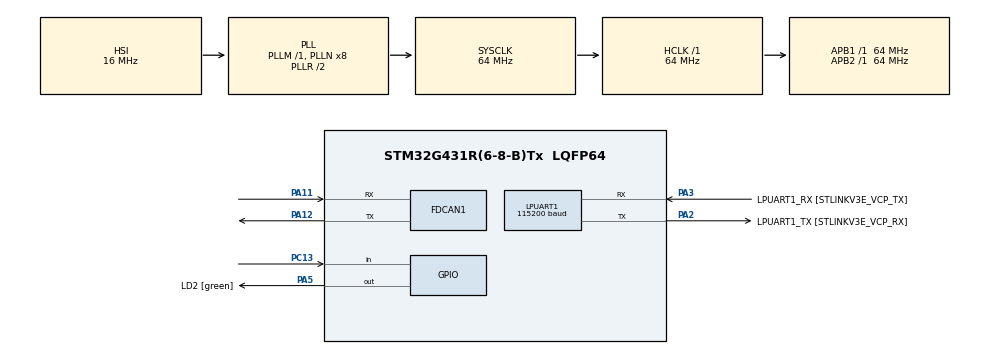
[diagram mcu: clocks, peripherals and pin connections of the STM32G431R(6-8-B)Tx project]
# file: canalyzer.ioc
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FDCAN1.AutoRetransmission=DISABLE
FDCAN1.CalculateBaudRateNominal=1000000
FDCAN1.CalculateTimeBitNominal=1000
FDCAN1.CalculateTimeQuantumNominal=15.625
FDCAN1.DataPrescaler=2
FDCAN1.DataSyncJumpWidth=14
FDCAN1.DataTimeSeg1=17
FDCAN1.DataTimeSeg2=14
FDCAN1.ExtFiltersNbr=0
FDCAN1.FrameFormat=FDCAN_FRAME_FD_NO_BRS
FDCAN1.Mode=FDCAN_MODE_BUS_MONITORING
FDCAN1.NominalPrescaler=1
FDCAN1.NominalSyncJumpWidth=9
FDCAN1.NominalTimeSeg1=54
FDCAN1.NominalTimeSeg2=9
FDCAN1.StdFiltersNbr=1
LPUART1.BaudRate=115200
Mcu.Family=STM32G4
Mcu.Name=STM32G431R(6-8-B)Tx
Mcu.Package=LQFP64
NVIC.FDCAN1_IT0_IRQn=true\:0\:0\:false\:false\:true\:true\:true\:true
NVIC.PriorityGroup=NVIC_PRIORITYGROUP_4
PA11.Mode=FDCAN_Activate
PA11.Signal=FDCAN1_RX
PA12.Mode=FDCAN_Activate
PA12.Signal=FDCAN1_TX
PA13.GPIO_Label=T_SWDIO
PA13.Signal=SYS_JTMS-SWDIO
PA14.GPIO_Label=T_SWCLK
PA14.Signal=SYS_JTCK-SWCLK
PA2.GPIO_Label=LPUART1_TX [STLINKV3E_VCP_RX]
PA2.Mode=Asynchronous
PA2.Signal=LPUART1_TX
PA3.GPIO_Label=LPUART1_RX [STLINKV3E_VCP_TX]
PA3.Mode=Asynchronous
PA3.Signal=LPUART1_RX
PA5.GPIO_Label=LD2 [green]
PA5.Signal=GPIO_Output
PB3.GPIO_Label=T_SWO
PB3.Signal=SYS_JTDO-SWO
PC13.Signal=GPIO_Input
PC14-OSC32_IN.GPIO_Label=RCC_OSC32_OUT
PC14-OSC32_IN.Signal=RCC_OSC32_IN
PC15-OSC32_OUT.GPIO_Label=RCC_OSC32_OUT
PC15-OSC32_OUT.Signal=RCC_OSC32_OUT
PF0-OSC_IN.GPIO_Label=RCC_OSC_IN
PF0-OSC_IN.Signal=RCC_OSC_IN
PF1-OSC_OUT.GPIO_Label=RCC_OSC_OUT
PF1-OSC_OUT.Signal=RCC_OSC_OUT
ProjectManager.HeapSize=0x200
ProjectManager.StackSize=0x400
ProjectManager.TargetToolchain=STM32CubeIDE
RCC.ADC12Freq_Value=64000000
RCC.AHBFreq_Value=64000000
RCC.APB1Freq_Value=64000000
RCC.APB1TimFreq_Value=64000000
RCC.APB2Freq_Value=64000000
RCC.APB2TimFreq_Value=64000000
RCC.CortexFreq_Value=64000000
RCC.EXTERNAL_CLOCK_VALUE=12288000
RCC.FDCANCLockSelection=RCC_FDCANCLKSOURCE_PLL
RCC.HCLKFreq_Value=64000000
RCC.HSE_VALUE=24000000
RCC.HSI48_VALUE=48000000
RCC.HSI_VALUE=16000000
RCC.LSE_VALUE=32768
RCC.RTCClockSelection=RCC_RTCCLKSOURCE_LSE
RCC.SYSCLKFreq_VALUE=64000000
RCC.SYSCLKSource=RCC_SYSCLKSOURCE_PLLCLK
RCC.USBFreq_Value=64000000
RCC.VCOOutputFreq_Value=128000000
TIM16.Prescaler=79
VP_SYS_VS_DBSignals.Mode=DisableDeadBatterySignals
VP_TIM16_VS_ClockSourceINT.Mode=Enable_Timer
board=NUCLEO-G431RB

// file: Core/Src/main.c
/* USER CODE BEGIN Header */
/**
 ******************************************************************************
 * @file           : main.c
 * @brief          : Main program body
 ******************************************************************************
 * @attention
 *
 * Copyright (c) 2024 STMicroelectronics.
 * All rights reserved.
 *
 * This software is licensed under terms that can be found in the LICENSE file
 * in the root directory of this software component.
 * If no LICENSE file comes with this software, it is provided AS-IS.
 *
 ******************************************************************************
 */
/* USER CODE END Header */
#include "main.h"

/* USER CODE BEGIN Includes */
#include <stdio.h>
#include <stdbool.h>

/* USER CODE END Includes */

/* USER CODE BEGIN PD */
// Initialises FDCan with given mode.
// TODO: Adapt to accept timings as input parameters.
void InitFDCan(bool deInit, uint32_t mode);
/* USER CODE END PD */

FDCAN_HandleTypeDef hfdcan1;

UART_HandleTypeDef hlpuart1;

TIM_HandleTypeDef htim16;

/* USER CODE BEGIN PV */
FDCAN_TxHeaderTypeDef TxHeader;
FDCAN_RxHeaderTypeDef RxHeader;
uint8_t tx_data[12];
uint8_t rx_data[12];
int _index = 0;
int role;
#define SENDER 	 1
#define RECEIVER 0
uint32_t default_fdcan_mode = FDCAN_MODE_BUS_MONITORING;
/* USER CODE END PV */

void SystemClock_Config(void);
static void MX_GPIO_Init(void);
static void MX_FDCAN1_Init(void);
static void MX_TIM16_Init(void);
static void MX_LPUART1_UART_Init(void);

int main(void) {

	/* USER CODE BEGIN 1 */
	char uart_buf[50];
	int uart_buf_len;
	//uint16_t timer_val;

	/* USER CODE END 1 */

	/* MCU Configuration--------------------------------------------------------*/

	/* Reset of all peripherals, Initializes the Flash interface and the Systick. */
	HAL_Init();

	/* Configure the system clock */
	SystemClock_Config();

	/* Initialize all configured peripherals */
	MX_GPIO_Init();
	MX_FDCAN1_Init();
	MX_TIM16_Init();
	MX_LPUART1_UART_Init();
	/* USER CODE BEGIN 2 */
//  HAL_UART_Transmit(&hlpuart1, (uint8_t *)uart_buf, uart_buf_len, 100);
	HAL_TIM_Base_Start(&htim16);

	InitFDCan(false, default_fdcan_mode);

	TxHeader.Identifier = 0x11;
	TxHeader.IdType = FDCAN_STANDARD_ID;
	TxHeader.TxFrameType = FDCAN_DATA_FRAME;
	TxHeader.DataLength = FDCAN_DLC_BYTES_12;
	TxHeader.ErrorStateIndicator = FDCAN_ESI_ACTIVE;
	TxHeader.BitRateSwitch = FDCAN_BRS_OFF;
	TxHeader.FDFormat = FDCAN_FD_CAN;
	TxHeader.TxEventFifoControl = FDCAN_NO_TX_EVENTS;
	TxHeader.MessageMarker = 0;

	// SENDER or RECEIVER
	role = RECEIVER;
	bool fdcan_mode = false;
	/* USER CODE END 2 */

	/* Infinite loop */
	/* USER CODE BEGIN WHILE */
	while (1) {
		if (HAL_GPIO_ReadPin(GPIOC, GPIO_PIN_13)) {
			InitFDCan(true, (fdcan_mode) ? FDCAN_MODE_BUS_MONITORING : FDCAN_MODE_NORMAL);
			fdcan_mode = !fdcan_mode;
		}

		if (role == SENDER && HAL_GPIO_ReadPin(GPIOC, GPIO_PIN_13)) {

			for (int i = 0; i < 12; i++) {
				tx_data[i] = _index++;
			}
			if (HAL_FDCAN_AddMessageToTxFifoQ(&hfdcan1, &TxHeader, tx_data)
					!= HAL_OK) {
				Error_Handler();
			}
		}
		HAL_Delay(1000);
	}
	/* USER CODE END WHILE */

}

void SystemClock_Config(void) {
	RCC_OscInitTypeDef RCC_OscInitStruct = { 0 };
	RCC_ClkInitTypeDef RCC_ClkInitStruct = { 0 };

	/** Configure the main internal regulator output voltage
	 */
	HAL_PWREx_ControlVoltageScaling(PWR_REGULATOR_VOLTAGE_SCALE1);

	/** Initializes the RCC Oscillators according to the specified parameters
	 * in the RCC_OscInitTypeDef structure.
	 */
	RCC_OscInitStruct.OscillatorType = RCC_OSCILLATORTYPE_HSI;
	RCC_OscInitStruct.HSIState = RCC_HSI_ON;
	RCC_OscInitStruct.HSICalibrationValue = RCC_HSICALIBRATION_DEFAULT;
	RCC_OscInitStruct.PLL.PLLState = RCC_PLL_ON;
	RCC_OscInitStruct.PLL.PLLSource = RCC_PLLSOURCE_HSI;
	RCC_OscInitStruct.PLL.PLLM = RCC_PLLM_DIV1;
	RCC_OscInitStruct.PLL.PLLN = 8;
	RCC_OscInitStruct.PLL.PLLP = RCC_PLLP_DIV2;
	RCC_OscInitStruct.PLL.PLLQ = RCC_PLLQ_DIV2;
	RCC_OscInitStruct.PLL.PLLR = RCC_PLLR_DIV2;
	if (HAL_RCC_OscConfig(&RCC_OscInitStruct) != HAL_OK) {
		Error_Handler();
	}

	/** Initializes the CPU, AHB and APB buses clocks
	 */
	RCC_ClkInitStruct.ClockType = RCC_CLOCKTYPE_HCLK | RCC_CLOCKTYPE_SYSCLK
			| RCC_CLOCKTYPE_PCLK1 | RCC_CLOCKTYPE_PCLK2;
	RCC_ClkInitStruct.SYSCLKSource = RCC_SYSCLKSOURCE_PLLCLK;
	RCC_ClkInitStruct.AHBCLKDivider = RCC_SYSCLK_DIV1;
	RCC_ClkInitStruct.APB1CLKDivider = RCC_HCLK_DIV1;
	RCC_ClkInitStruct.APB2CLKDivider = RCC_HCLK_DIV1;

	if (HAL_RCC_ClockConfig(&RCC_ClkInitStruct, FLASH_LATENCY_2) != HAL_OK) {
		Error_Handler();
	}
}

static void MX_FDCAN1_Init(void) {

	hfdcan1.Instance = FDCAN1;
	hfdcan1.Init.ClockDivider = FDCAN_CLOCK_DIV1;
	hfdcan1.Init.FrameFormat = FDCAN_FRAME_FD_NO_BRS;
	hfdcan1.Init.Mode = FDCAN_MODE_BUS_MONITORING;
	hfdcan1.Init.AutoRetransmission = DISABLE;
	hfdcan1.Init.TransmitPause = DISABLE;
	hfdcan1.Init.ProtocolException = DISABLE;
	hfdcan1.Init.NominalPrescaler = 1;
	hfdcan1.Init.NominalSyncJumpWidth = 9;
	hfdcan1.Init.NominalTimeSeg1 = 54;
	hfdcan1.Init.NominalTimeSeg2 = 9;
	hfdcan1.Init.DataPrescaler = 2;
	hfdcan1.Init.DataSyncJumpWidth = 14;
	hfdcan1.Init.DataTimeSeg1 = 17;
	hfdcan1.Init.DataTimeSeg2 = 14;
	hfdcan1.Init.StdFiltersNbr = 1;
	hfdcan1.Init.ExtFiltersNbr = 0;
	hfdcan1.Init.TxFifoQueueMode = FDCAN_TX_FIFO_OPERATION;
	if (HAL_FDCAN_Init(&hfdcan1) != HAL_OK) {
		Error_Handler();
	}
	/* USER CODE BEGIN FDCAN1_Init 2 */
	FDCAN_FilterTypeDef sFilterConfig;

	sFilterConfig.IdType = FDCAN_STANDARD_ID;
	sFilterConfig.FilterIndex = 0;
	sFilterConfig.FilterType = FDCAN_FILTER_MASK;
	sFilterConfig.FilterConfig = FDCAN_FILTER_TO_RXFIFO0;
	sFilterConfig.FilterID1 = 0x11;
	sFilterConfig.FilterID2 = 0x11;

	if (HAL_FDCAN_ConfigFilter(&hfdcan1, &sFilterConfig) != HAL_OK) {
		Error_Handler();
	}

	if (HAL_FDCAN_ConfigGlobalFilter(&hfdcan1, FDCAN_REJECT, FDCAN_REJECT,
	FDCAN_FILTER_REMOTE, FDCAN_FILTER_REMOTE) != HAL_OK) {
		Error_Handler();
	}

	/* USER CODE END FDCAN1_Init 2 */

}

static void MX_LPUART1_UART_Init(void) {

	hlpuart1.Instance = LPUART1;
	hlpuart1.Init.BaudRate = 115200;
	hlpuart1.Init.WordLength = UART_WORDLENGTH_8B;
	hlpuart1.Init.StopBits = UART_STOPBITS_1;
	hlpuart1.Init.Parity = UART_PARITY_NONE;
	hlpuart1.Init.Mode = UART_MODE_TX_RX;
	hlpuart1.Init.HwFlowCtl = UART_HWCONTROL_NONE;
	hlpuart1.Init.OneBitSampling = UART_ONE_BIT_SAMPLE_DISABLE;
	hlpuart1.Init.ClockPrescaler = UART_PRESCALER_DIV1;
	hlpuart1.AdvancedInit.AdvFeatureInit = UART_ADVFEATURE_NO_INIT;
	if (HAL_UART_Init(&hlpuart1) != HAL_OK) {
		Error_Handler();
	}
	if (HAL_UARTEx_SetTxFifoThreshold(&hlpuart1, UART_TXFIFO_THRESHOLD_1_8)
			!= HAL_OK) {
		Error_Handler();
	}
	if (HAL_UARTEx_SetRxFifoThreshold(&hlpuart1, UART_RXFIFO_THRESHOLD_1_8)
			!= HAL_OK) {
		Error_Handler();
	}
	if (HAL_UARTEx_DisableFifoMode(&hlpuart1) != HAL_OK) {
		Error_Handler();
	}

}

static void MX_TIM16_Init(void) {

	htim16.Instance = TIM16;
	htim16.Init.Prescaler = 79;
	htim16.Init.CounterMode = TIM_COUNTERMODE_UP;
	htim16.Init.Period = 65535;
	htim16.Init.ClockDivision = TIM_CLOCKDIVISION_DIV1;
	htim16.Init.RepetitionCounter = 0;
	htim16.Init.AutoReloadPreload = TIM_AUTORELOAD_PRELOAD_DISABLE;
	if (HAL_TIM_Base_Init(&htim16) != HAL_OK) {
		Error_Handler();
	}

}

static void MX_GPIO_Init(void) {
	GPIO_InitTypeDef GPIO_InitStruct = { 0 };

	/* GPIO Ports Clock Enable */
	__HAL_RCC_GPIOC_CLK_ENABLE();
	__HAL_RCC_GPIOF_CLK_ENABLE();
	__HAL_RCC_GPIOA_CLK_ENABLE();
	__HAL_RCC_GPIOB_CLK_ENABLE();

	/*Configure GPIO pin Output Level */
	HAL_GPIO_WritePin(LD2_GPIO_Port, LD2_Pin, GPIO_PIN_RESET);

	/*Configure GPIO pin : PC13 */
	GPIO_InitStruct.Pin = GPIO_PIN_13;
	GPIO_InitStruct.Mode = GPIO_MODE_INPUT;
	GPIO_InitStruct.Pull = GPIO_NOPULL;
	HAL_GPIO_Init(GPIOC, &GPIO_InitStruct);

	/*Configure GPIO pin : LD2_Pin */
	GPIO_InitStruct.Pin = LD2_Pin;
	GPIO_InitStruct.Mode = GPIO_MODE_OUTPUT_PP;
	GPIO_InitStruct.Pull = GPIO_NOPULL;
	GPIO_InitStruct.Speed = GPIO_SPEED_FREQ_LOW;
	HAL_GPIO_Init(LD2_GPIO_Port, &GPIO_InitStruct);

}

/* USER CODE BEGIN 4 */

// connects LPUART1 to prinf
#ifdef __GNUC__
#define PUTCHAR_PROTOTYPE int __io_putchar(int ch)
#else
#define PUTCHAR_PROTOTYPE int fputc(int ch, FILE *f)
#endif /* __GNUC__ */
PUTCHAR_PROTOTYPE {
	HAL_UART_Transmit(&hlpuart1, (uint8_t*) &ch, 1, 0xFFFF);
	return ch;

}

//void HAL_FDCAN_RxFifo0MsgPendingCallback(FDCAN_HandleTypeDef *hfdcan1, uint32_t RxFifo0ITs) {
void HAL_FDCAN_RxFifo0Callback(FDCAN_HandleTypeDef *hfdcan, uint32_t RxFifo0ITs) {

	printf("Entered RxFifo0 Callback \n\r");

	if ((RxFifo0ITs & FDCAN_IT_RX_FIFO0_NEW_MESSAGE) == RESET) {
		Error_Handler();
	}

	if (HAL_FDCAN_GetRxMessage(hfdcan, FDCAN_RX_FIFO0, &RxHeader, rx_data)
			!= HAL_OK) {
		Error_Handler();
	}
	uint16_t timer_val = 1000 * __HAL_TIM_GET_COUNTER(&htim16);
	printf("Timestamp (ms): %d\n\r", timer_val);
	printf("ID: %d\n\r", RxHeader.Identifier);
	printf("Message: %d\n\r", rx_data[0]);/* Retreive Rx messages from RX FIFO0 */

	if (HAL_FDCAN_ActivateNotification(hfdcan, FDCAN_IT_RX_FIFO0_NEW_MESSAGE, 0)
			!= HAL_OK) {
		/* Notification Error */
		Error_Handler();
	}

//	  if (HAL_FDCAN_ActivateNotification(hfdcan1, FDCAN_IT_RX_FIFO0_NEW_MESSAGE, 0) != HAL_OK){
//		Error_Handler();
//	}

}

void InitFDCan(bool deInit, uint32_t mode) {
	if (deInit) {
		HAL_FDCAN_Stop(&hfdcan1);
		HAL_FDCAN_DeInit(&hfdcan1);
	}

	hfdcan1.Instance = FDCAN1;
	hfdcan1.Init.ClockDivider = FDCAN_CLOCK_DIV1;
	hfdcan1.Init.FrameFormat = FDCAN_FRAME_FD_NO_BRS;
	hfdcan1.Init.Mode = mode;
	hfdcan1.Init.AutoRetransmission = DISABLE;
	hfdcan1.Init.TransmitPause = DISABLE;
	hfdcan1.Init.ProtocolException = DISABLE;
	hfdcan1.Init.NominalPrescaler = 1;
	hfdcan1.Init.NominalSyncJumpWidth = 9;
	hfdcan1.Init.NominalTimeSeg1 = 54;
	hfdcan1.Init.NominalTimeSeg2 = 9;
	hfdcan1.Init.DataPrescaler = 2;
	hfdcan1.Init.DataSyncJumpWidth = 14;
	hfdcan1.Init.DataTimeSeg1 = 17;
	hfdcan1.Init.DataTimeSeg2 = 14;
	hfdcan1.Init.StdFiltersNbr = 1;
	hfdcan1.Init.ExtFiltersNbr = 0;
	hfdcan1.Init.TxFifoQueueMode = FDCAN_TX_FIFO_OPERATION;
	if (HAL_FDCAN_Init(&hfdcan1) != HAL_OK) {
		Error_Handler();
	}
	/* USER CODE BEGIN FDCAN1_Init 2 */
	FDCAN_FilterTypeDef sFilterConfig;

	sFilterConfig.IdType = FDCAN_STANDARD_ID;
	sFilterConfig.FilterIndex = 0;
	sFilterConfig.FilterType = FDCAN_FILTER_MASK;
	sFilterConfig.FilterConfig = FDCAN_FILTER_TO_RXFIFO0;
	sFilterConfig.FilterID1 = 0x11;
	sFilterConfig.FilterID2 = 0x11;

	if (HAL_FDCAN_ConfigFilter(&hfdcan1, &sFilterConfig) != HAL_OK) {
		Error_Handler();
	}

	if (HAL_FDCAN_ConfigGlobalFilter(&hfdcan1, FDCAN_REJECT, FDCAN_REJECT,
	FDCAN_FILTER_REMOTE, FDCAN_FILTER_REMOTE) != HAL_OK) {
		Error_Handler();
	}

	if (HAL_FDCAN_Start(&hfdcan1) != HAL_OK) {
		Error_Handler();
	}

	//  printf("Started FDCAN \n\r");

	/* Activate RxFIFO0 new message notifications */
	if (HAL_FDCAN_ActivateNotification(&hfdcan1, FDCAN_IT_RX_FIFO0_NEW_MESSAGE,
			0) != HAL_OK) {
		Error_Handler();
	}
}

/* USER CODE END 4 */

void Error_Handler(void) {
	__disable_irq();
	while (1) {
	}
}
